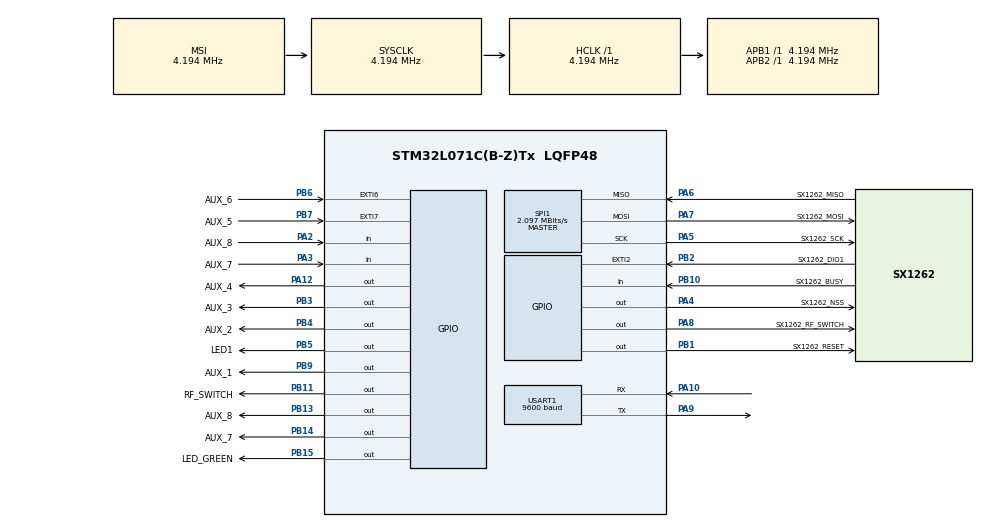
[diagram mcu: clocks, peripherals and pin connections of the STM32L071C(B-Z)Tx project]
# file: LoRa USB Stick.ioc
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Mcu.Family=STM32L0
FREERTOS.Queues01=QueueCore,16,DATA_QUEUE,0,Static,QueueCoreBuffer,QueueCoreControlBlock;QueueRF,16,DATA_QUEUE,0,Static,QueueRFBuffer,QueueRFControlBlock
PA6.Mode=Full_Duplex_Master
VP_TIM6_VS_OPM.Mode=OPM_bit
SPI1.VirtualType=VM_MASTER
USART1.BaudRate=9600
PB14.GPIO_Label=AUX_7
PB6.GPIO_ModeDefaultEXTI=GPIO_MODE_IT_FALLING
PA6.GPIO_Label=SX1262_MISO
PB6.GPIO_Label=AUX_6
PB13.GPIO_Label=AUX_8
PB7.GPIO_ModeDefaultEXTI=GPIO_MODE_IT_FALLING
PB11.Signal=GPIO_Output
PB13.Signal=GPIO_Output
PB15.Signal=GPIO_Output
ProjectManager.StackSize=0x400
PB2.GPIO_ModeDefaultEXTI=GPIO_MODE_IT_RISING
Dma.USART1_TX.0.Priority=DMA_PRIORITY_LOW
PA12.Signal=GPIO_Output
Dma.USART1_TX.0.Direction=DMA_MEMORY_TO_PERIPH
SPI1.Direction=SPI_DIRECTION_2LINES
RCC.HCLKFreq_Value=4194000
RCC.APB2TimFreq_Value=4194000
PB6.Signal=GPXTI6
SPI1.CalculateBaudRate=2.097 MBits/s
Dma.USART1_RX.1.MemInc=DMA_MINC_ENABLE
FREERTOS.configMINIMAL_STACK_SIZE=250
RCC.AHBFreq_Value=4194000
RCC.HSE_VALUE=8000000
Dma.USART1_RX.1.PeriphDataAlignment=DMA_PDATAALIGN_BYTE
FREERTOS.configUSE_TIMERS=1
PB2.Signal=GPXTI2
PA14.Mode=Serial_Wire
PB1.GPIO_Label=SX1262_RESET
PB7.Signal=GPXTI7
PA8.Signal=GPIO_Output
TIM6.Period=250
VP_FREERTOS_VS_CMSIS_V1.Mode=CMSIS_V1
Dma.USART1_TX.0.PeriphDataAlignment=DMA_PDATAALIGN_BYTE
FREERTOS.configTIMER_TASK_PRIORITY=5
Dma.USART1_RX.1.Mode=DMA_CIRCULAR
PB7.GPIO_Label=AUX_5
Mcu.Package=LQFP48
PB9.Signal=GPIO_Output
PA6.Signal=SPI1_MISO
PB1.Signal=GPIO_Output
PA2.GPIO_Label=AUX_8
PA10.Signal=USART1_RX
Dma.USART1_TX.0.Instance=DMA1_Channel2
Dma.USART1_RX.1.PeriphInc=DMA_PINC_DISABLE
PB5.GPIO_Label=LED1
Dma.Request1=USART1_RX
RCC.APB1TimFreq_Value=4194000
Dma.USART1_RX.1.Priority=DMA_PRIORITY_LOW
Dma.Request0=USART1_TX
PA4.GPIO_Label=SX1262_NSS
RCC.MSIClockRange=RCC_MSIRANGE_6
NVIC.EXTI4_15_IRQn=true\:0\:0\:false\:false\:true\:false\:true\:true
PB4.Signal=GPIO_Output
PA3.Signal=GPIO_Input
PA5.Mode=Full_Duplex_Master
PB3.GPIO_Label=AUX_3
RCC.MSI_VALUE=4194000
PB7.GPIO_PuPd=GPIO_PULLUP
Dma.USART1_RX.1.Instance=DMA1_Channel3
Dma.USART1_RX.1.MemDataAlignment=DMA_MDATAALIGN_BYTE
FREERTOS.Tasks01=CoreTask,0,128,StartTaskCore,Default,NULL,Static,CoreTaskBuffer,CoreTaskControlBlock;RFTask,0,200,StartRfTask,Default,NULL,Static,RFTaskBuffer,RFTaskControlBlock
Dma.USART1_TX.0.MemInc=DMA_MINC_ENABLE
PA7.Mode=Full_Duplex_Master
PB9.GPIO_Label=AUX_1
Dma.USART1_TX.0.PeriphInc=DMA_PINC_DISABLE
PA10.Mode=Asynchronous
PB6.GPIO_PuPd=GPIO_PULLUP
TIM6.Prescaler=2000
VP_TIM6_VS_ClockSourceINT.Mode=Enable_Timer
PB11.GPIO_Label=RF_SWITCH
PA12.GPIO_Label=AUX_4
NVIC.TIM6_IRQn=true\:0\:0\:false\:false\:true\:true\:true\:true
USART1.VirtualMode-Asynchronous=VM_ASYNC
PA13.Signal=SYS_SWDIO
RCC.HSI16_VALUE=16000000
PA9.Mode=Asynchronous
PA8.GPIO_Label=SX1262_RF_SWITCH
ProjectManager.TargetToolchain=TrueSTUDIO
PB10.GPIO_Label=SX1262_BUSY
PA9.Signal=USART1_TX
RCC.LSE_VALUE=32768
PB10.Signal=GPIO_Input
PB14.Signal=GPIO_Output
PA5.Signal=SPI1_SCK
FREERTOS.MEMORY_ALLOCATION=2
Dma.USART1_TX.0.Mode=DMA_CIRCULAR
board=custom
RCC.VCOOutputFreq_Value=48000000
NVIC.EXTI2_3_IRQn=true\:0\:0\:false\:false\:true\:true\:true\:true
RCC.APB2Freq_Value=4194000
PB4.GPIO_Label=AUX_2
PB15.GPIO_Label=LED_GREEN
SPI1.Mode=SPI_MODE_MASTER
PA13.Mode=Serial_Wire
Mcu.Name=STM32L071C(B-Z)Tx
PA2.Signal=GPIO_Input
PB3.Signal=GPIO_Output
PA4.Signal=GPIO_Output
RCC.SYSCLKFreq_VALUE=4194000
PB5.Signal=GPIO_Output
PA7.GPIO_Label=SX1262_MOSI
PA5.GPIO_Label=SX1262_SCK
Dma.USART1_TX.0.MemDataAlignment=DMA_MDATAALIGN_BYTE
PA14.Signal=SYS_SWCLK
PB2.GPIO_Label=SX1262_DIO1
ProjectManager.HeapSize=0x200
FREERTOS.Timers01=TimerLED,Callback_LED,osTimerPeriodic,As weak,NULL,Static,TimerLEDControlBlock;TimerButton,CallbackButtonCheck,osTimerOnce,As weak,NULL,Static,TimerButtonControlBlock;TimerSystemLED,CallbackSystemLED,osTimerOnce,As weak,NULL,Static,TimerSystemLEDControlBlock
RCC.HSI_VALUE=16000000
Dma.USART1_RX.1.Direction=DMA_PERIPH_TO_MEMORY
RCC.APB1Freq_Value=4194000
PA3.GPIO_Label=AUX_7
PA7.Signal=SPI1_MOSI

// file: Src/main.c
/* USER CODE BEGIN Header */
/**
  ******************************************************************************
  * @file           : main.c
  * @brief          : Main program body
  ******************************************************************************
  * @attention
  *
  * <h2><center>&copy; Copyright (c) 2019 STMicroelectronics.
  * All rights reserved.</center></h2>
  *
  * This software component is licensed by ST under Ultimate Liberty license
  * SLA0044, the "License"; You may not use this file except in compliance with
  * the License. You may obtain a copy of the License at:
  *                             www.st.com/SLA0044
  *
  ******************************************************************************
  */
/* USER CODE END Header */
#include "main.h"
#include "cmsis_os.h"
#include "dma.h"
#include "spi.h"
#include "tim.h"
#include "usart.h"
#include "gpio.h"

/* USER CODE BEGIN Includes */
#include "gldef.h"
#include "stm32l0xx_ll_usart.h"
/* USER CODE END Includes */

/* USER CODE BEGIN PV */
extern volatile osMessageQId QueueRFHandle;
extern osTimerId TimerButtonHandle;
/* USER CODE END PV */

void SystemClock_Config(void);
void MX_FREERTOS_Init(void);

/* USER CODE BEGIN 0 */

void HAL_GPIO_EXTI_Callback(uint16_t GPIO_Pin)
{
	DATA_QUEUE SendData;
	SendData.pointer=NULL;
	signed portBASE_TYPE xHigherPriorityTaskWoken=pdFALSE;

	if(GPIO_Pin==SX1262_DIO1_Pin)
	{
		SendData.Address=ADDR_SX1276_IRQ;
		if(xQueueSendFromISR(QueueRFHandle,&SendData,&xHigherPriorityTaskWoken)!=pdPASS)
		{
			while(1);
		}
	}
	else if((GPIO_Pin == AUX_6_Pin) || (GPIO_Pin == AUX_5_Pin))
	{
		osTimerStart(TimerButtonHandle,100);
	}
}

void LogError(uint64_t code)
{
	NVIC_SystemReset();
}

/* USER CODE END 0 */

int main(void)
{

  /* MCU Configuration--------------------------------------------------------*/

  /* Reset of all peripherals, Initializes the Flash interface and the Systick. */
  HAL_Init();

  /* Configure the system clock */
  SystemClock_Config();

  /* Initialize all configured peripherals */
  MX_GPIO_Init();
  MX_DMA_Init();
  MX_USART1_UART_Init();
  MX_SPI1_Init();
  MX_TIM6_Init();
  /* USER CODE BEGIN 2 */
  HAL_GPIO_WritePin(SX1262_NSS_GPIO_Port,SX1262_NSS_Pin,1);
  srand(time(NULL));   // Initialization, should only be called once.
  /* USER CODE END 2 */

  /* Call init function for freertos objects (in freertos.c) */
  MX_FREERTOS_Init();
  /* Start scheduler */
  osKernelStart();

  /* We should never get here as control is now taken by the scheduler */
  /* Infinite loop */
  while (1)
  {

  }
}

void SystemClock_Config(void)
{
  RCC_OscInitTypeDef RCC_OscInitStruct = {0};
  RCC_ClkInitTypeDef RCC_ClkInitStruct = {0};
  RCC_PeriphCLKInitTypeDef PeriphClkInit = {0};

  /** Configure the main internal regulator output voltage
  */
  __HAL_PWR_VOLTAGESCALING_CONFIG(PWR_REGULATOR_VOLTAGE_SCALE1);
  /** Initializes the RCC Oscillators according to the specified parameters
  * in the RCC_OscInitTypeDef structure.
  */
  RCC_OscInitStruct.OscillatorType = RCC_OSCILLATORTYPE_MSI;
  RCC_OscInitStruct.MSIState = RCC_MSI_ON;
  RCC_OscInitStruct.MSICalibrationValue = 0;
  RCC_OscInitStruct.MSIClockRange = RCC_MSIRANGE_6;
  RCC_OscInitStruct.PLL.PLLState = RCC_PLL_NONE;
  if (HAL_RCC_OscConfig(&RCC_OscInitStruct) != HAL_OK)
  {
    Error_Handler();
  }
  /** Initializes the CPU, AHB and APB buses clocks
  */
  RCC_ClkInitStruct.ClockType = RCC_CLOCKTYPE_HCLK|RCC_CLOCKTYPE_SYSCLK
                              |RCC_CLOCKTYPE_PCLK1|RCC_CLOCKTYPE_PCLK2;
  RCC_ClkInitStruct.SYSCLKSource = RCC_SYSCLKSOURCE_MSI;
  RCC_ClkInitStruct.AHBCLKDivider = RCC_SYSCLK_DIV1;
  RCC_ClkInitStruct.APB1CLKDivider = RCC_HCLK_DIV1;
  RCC_ClkInitStruct.APB2CLKDivider = RCC_HCLK_DIV1;

  if (HAL_RCC_ClockConfig(&RCC_ClkInitStruct, FLASH_LATENCY_0) != HAL_OK)
  {
    Error_Handler();
  }
  PeriphClkInit.PeriphClockSelection = RCC_PERIPHCLK_USART1;
  PeriphClkInit.Usart1ClockSelection = RCC_USART1CLKSOURCE_PCLK2;
  if (HAL_RCCEx_PeriphCLKConfig(&PeriphClkInit) != HAL_OK)
  {
    Error_Handler();
  }
}

void Error_Handler(void)
{
}

/************************ (C) COPYRIGHT STMicroelectronics *****END OF FILE****/

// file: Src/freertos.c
/* USER CODE BEGIN Header */
/**
  ******************************************************************************
  * File Name          : freertos.c
  * Description        : Code for freertos applications
  ******************************************************************************
  * @attention
  *
  * <h2><center>&copy; Copyright (c) 2019 STMicroelectronics.
  * All rights reserved.</center></h2>
  *
  * This software component is licensed by ST under Ultimate Liberty license
  * SLA0044, the "License"; You may not use this file except in compliance with
  * the License. You may obtain a copy of the License at:
  *                             www.st.com/SLA0044
  *
  ******************************************************************************
  */
/* USER CODE END Header */

#include "FreeRTOS.h"
#include "task.h"
#include "main.h"
#include "cmsis_os.h"

/* USER CODE BEGIN Includes */
#include "gldef.h"
/* USER CODE END Includes */

osThreadId CoreTaskHandle;
uint32_t CoreTaskBuffer[ 128 ];
osStaticThreadDef_t CoreTaskControlBlock;
osThreadId RFTaskHandle;
uint32_t RFTaskBuffer[ 200 ];
osStaticThreadDef_t RFTaskControlBlock;
osMessageQId QueueCoreHandle;
uint8_t QueueCoreBuffer[ 16 * sizeof( DATA_QUEUE ) ];
osStaticMessageQDef_t QueueCoreControlBlock;
osMessageQId QueueRFHandle;
uint8_t QueueRFBuffer[ 16 * sizeof( DATA_QUEUE ) ];
osStaticMessageQDef_t QueueRFControlBlock;
osTimerId TimerLEDHandle;
osStaticTimerDef_t TimerLEDControlBlock;
osTimerId TimerButtonHandle;
osStaticTimerDef_t TimerButtonControlBlock;
osTimerId TimerSystemLEDHandle;
osStaticTimerDef_t TimerSystemLEDControlBlock;

void StartTaskCore(void const * argument);
void StartRfTask(void const * argument);
void Callback_LED(void const * argument);
void CallbackButtonCheck(void const * argument);
void CallbackSystemLED(void const * argument);

void MX_FREERTOS_Init(void); /* (MISRA C 2004 rule 8.1) */

/* GetIdleTaskMemory prototype (linked to static allocation support) */
void vApplicationGetIdleTaskMemory( StaticTask_t **ppxIdleTaskTCBBuffer, StackType_t **ppxIdleTaskStackBuffer, uint32_t *pulIdleTaskStackSize );

/* GetTimerTaskMemory prototype (linked to static allocation support) */
void vApplicationGetTimerTaskMemory( StaticTask_t **ppxTimerTaskTCBBuffer, StackType_t **ppxTimerTaskStackBuffer, uint32_t *pulTimerTaskStackSize );

/* USER CODE BEGIN GET_IDLE_TASK_MEMORY */
static StaticTask_t xIdleTaskTCBBuffer;
static StackType_t xIdleStack[configMINIMAL_STACK_SIZE];

void vApplicationGetIdleTaskMemory( StaticTask_t **ppxIdleTaskTCBBuffer, StackType_t **ppxIdleTaskStackBuffer, uint32_t *pulIdleTaskStackSize )
{
  *ppxIdleTaskTCBBuffer = &xIdleTaskTCBBuffer;
  *ppxIdleTaskStackBuffer = &xIdleStack[0];
  *pulIdleTaskStackSize = configMINIMAL_STACK_SIZE;
  /* place for user code */
}
/* USER CODE END GET_IDLE_TASK_MEMORY */

/* USER CODE BEGIN GET_TIMER_TASK_MEMORY */
static StaticTask_t xTimerTaskTCBBuffer;
static StackType_t xTimerStack[configTIMER_TASK_STACK_DEPTH];

void vApplicationGetTimerTaskMemory( StaticTask_t **ppxTimerTaskTCBBuffer, StackType_t **ppxTimerTaskStackBuffer, uint32_t *pulTimerTaskStackSize )
{
  *ppxTimerTaskTCBBuffer = &xTimerTaskTCBBuffer;
  *ppxTimerTaskStackBuffer = &xTimerStack[0];
  *pulTimerTaskStackSize = configTIMER_TASK_STACK_DEPTH;
  /* place for user code */
}
/* USER CODE END GET_TIMER_TASK_MEMORY */

void MX_FREERTOS_Init(void) {

  /* Create the timer(s) */
  /* definition and creation of TimerLED */
  osTimerStaticDef(TimerLED, Callback_LED, &TimerLEDControlBlock);
  TimerLEDHandle = osTimerCreate(osTimer(TimerLED), osTimerPeriodic, NULL);

  /* definition and creation of TimerButton */
  osTimerStaticDef(TimerButton, CallbackButtonCheck, &TimerButtonControlBlock);
  TimerButtonHandle = osTimerCreate(osTimer(TimerButton), osTimerOnce, NULL);

  /* definition and creation of TimerSystemLED */
  osTimerStaticDef(TimerSystemLED, CallbackSystemLED, &TimerSystemLEDControlBlock);
  TimerSystemLEDHandle = osTimerCreate(osTimer(TimerSystemLED), osTimerOnce, NULL);

  /* Create the queue(s) */
  /* definition and creation of QueueCore */
  osMessageQStaticDef(QueueCore, 16, DATA_QUEUE, QueueCoreBuffer, &QueueCoreControlBlock);
  QueueCoreHandle = osMessageCreate(osMessageQ(QueueCore), NULL);

  /* definition and creation of QueueRF */
  osMessageQStaticDef(QueueRF, 16, DATA_QUEUE, QueueRFBuffer, &QueueRFControlBlock);
  QueueRFHandle = osMessageCreate(osMessageQ(QueueRF), NULL);

  /* Create the thread(s) */
  /* definition and creation of CoreTask */
  osThreadStaticDef(CoreTask, StartTaskCore, osPriorityNormal, 0, 128, CoreTaskBuffer, &CoreTaskControlBlock);
  CoreTaskHandle = osThreadCreate(osThread(CoreTask), NULL);

  /* definition and creation of RFTask */
  osThreadStaticDef(RFTask, StartRfTask, osPriorityNormal, 0, 200, RFTaskBuffer, &RFTaskControlBlock);
  RFTaskHandle = osThreadCreate(osThread(RFTask), NULL);

}

void StartTaskCore(void const * argument)
{
  /* USER CODE BEGIN StartTaskCore */
	TaskCore(argument);
  /* Infinite loop */

  /* USER CODE END StartTaskCore */
}

void StartRfTask(void const * argument)
{
#if (USE_WITH_RF == true)
  /* USER CODE BEGIN StartRfTask */
  /* Infinite loop */
  RFTask(argument);
  /* USER CODE END StartRfTask */
#else
  osDelay(UINT32_MAX);
#endif
}

/* Callback_LED function */
__weak void Callback_LED(void const * argument)
{
}

/* CallbackButtonCheck function */
__weak void CallbackButtonCheck(void const * argument)
{
}

/* CallbackSystemLED function */
__weak void CallbackSystemLED(void const * argument)
{
}

/************************ (C) COPYRIGHT STMicroelectronics *****END OF FILE****/
